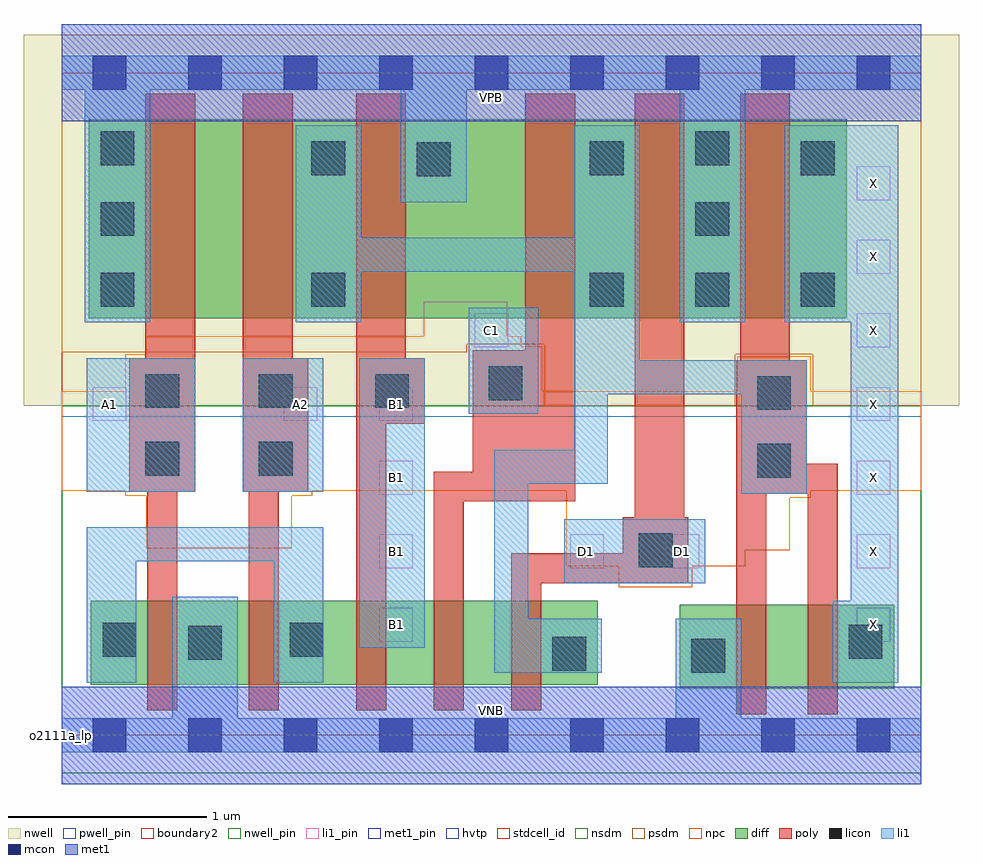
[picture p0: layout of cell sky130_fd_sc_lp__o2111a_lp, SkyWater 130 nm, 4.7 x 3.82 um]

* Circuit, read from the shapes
.subckt sky130_fd_sc_lp__o2111a_lp A1 A2 B1 C1 D1 VGND VNB VPB VPWR X
XM1 VGND A1 n1 VNB sky130_fd_pr__nfet_01v8 w=0.42 l=0.15
XM2 n1 A2 VGND VNB sky130_fd_pr__nfet_01v8 w=0.42 l=0.15
XM3 n2 B1 n1 VNB sky130_fd_pr__nfet_01v8 w=0.42 l=0.15
XM4 n3 C1 n2 VNB sky130_fd_pr__nfet_01v8 w=0.42 l=0.15
XM5 n4 D1 n3 VNB sky130_fd_pr__nfet_01v8 w=0.42 l=0.15
XM6 n5 n4 VGND VNB sky130_fd_pr__nfet_01v8 w=0.42 l=0.15
XM7 X n4 n5 VNB sky130_fd_pr__nfet_01v8 w=0.42 l=0.15
XM8 n6 A1 VPWR VPB sky130_fd_pr__pfet_01v8_hvt w=1 l=0.25
XM9 n4 A2 n6 VPB sky130_fd_pr__pfet_01v8_hvt w=1 l=0.25
XM10 VPWR B1 n4 VPB sky130_fd_pr__pfet_01v8_hvt w=1 l=0.25
XM11 n4 C1 VPWR VPB sky130_fd_pr__pfet_01v8_hvt w=1 l=0.25
XM12 VPWR D1 n4 VPB sky130_fd_pr__pfet_01v8_hvt w=1 l=0.25
XM13 X n4 VPWR VPB sky130_fd_pr__pfet_01v8_hvt w=1 l=0.25
.ends

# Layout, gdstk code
import gdstk
lib = gdstk.Library(unit=1e-6, precision=1e-09)
def R(c, l, rs):  # rectangles x0, y0, x1, y1
    for r in rs: c.add(gdstk.rectangle(r[:2], r[2:], *l))
def A(c, l, x, y, w, h, nx, ny, dx, dy):  # array of equal rectangles
    R(c, l, [(x+i*dx, y+j*dy, x+i*dx+w, y+j*dy+h) for i in range(nx) for j in range(ny)])
def P(c, l, *ps):  # polygons
    for p in ps: c.add(gdstk.Polygon(p, *l))
nwell_pin = (64, 16)
nwell = (64, 20)
diff = (65, 20)
poly = (66, 20)
licon = (66, 44)
li1_pin = (67, 16)
li1 = (67, 20)
mcon = (67, 44)
met1_pin = (68, 16)
met1 = (68, 20)
hvtp = (78, 44)
stdcell_id = (81, 4)
nsdm = (93, 44)
psdm = (94, 20)
npc = (95, 20)
pwell_pin = (122, 16)
boundary2 = (236, 0)

sky130_fd_sc_lp__o2111a_ = lib.new_cell('sky130_fd_sc_lp__o2111a_lp')
R(sky130_fd_sc_lp__o2111a_, nwell_pin, [(0,3.085,4.32,3.33)])
R(sky130_fd_sc_lp__o2111a_, nwell, [(-0.19,1.655,4.51,3.52)])
R(sky130_fd_sc_lp__o2111a_, diff, [(3.105,0.235,4.185,0.655), (0.145,0.255,2.695,0.675), (0.135,2.095,3.945,3.095)])
P(sky130_fd_sc_lp__o2111a_, poly, [(0.67,3.225),(0.42,3.225),(0.42,1.895),(0.34,1.895),(0.34,1.225),(0.43,1.225),(0.43,0.125),(0.58,0.125),(0.58,1.225),(0.67,1.225)],
  [(1.24,1.895),(1.16,1.895),(1.16,3.225),(0.91,3.225),(0.91,1.225),(0.94,1.225),(0.94,0.125),(1.09,0.125),(1.09,1.225),(1.24,1.225)],
  [(1.825,1.895),(1.73,1.895),(1.73,3.225),(1.48,3.225),(1.48,0.125),(1.63,0.125),(1.63,1.565),(1.825,1.565)],
  [(2.58,3.225),(2.33,3.225),(2.33,1.935),(2.065,1.935),(2.065,1.325),(1.87,1.325),(1.87,0.125),(2.02,0.125),(2.02,1.175),(2.58,1.175)],
  [(3.15,1.095),(3.13,1.095),(3.13,3.225),(2.88,3.225),(2.88,1.095),(2.82,1.095),(2.82,0.915),(2.26,0.915),(2.26,0.125),(2.41,0.125),(2.41,0.765),(3.15,0.765)],
  [(3.9,1.365),(3.745,1.365),(3.745,1.885),(3.66,1.885),(3.66,3.225),(3.41,3.225),(3.41,1.885),(3.39,1.885),(3.39,0.105),(3.54,0.105),(3.54,1.215),(3.75,1.215),(3.75,0.105),(3.9,0.105)])
A(sky130_fd_sc_lp__o2111a_, licon, 0.195, 2.155, 0.17, 0.17, 1, 3, 0, 0.355)
A(sky130_fd_sc_lp__o2111a_, licon, 2.655, 2.155, 0.17, 0.17, 3, 1, 0.53, 0)
R(sky130_fd_sc_lp__o2111a_, licon, [(3.165,0.315,3.335,0.485), (2.465,0.325,2.635,0.495), (0.635,0.38,0.805,0.55), (3.955,0.385,4.125,0.555), (0.205,0.395,0.375,0.565), (1.145,0.395,1.315,0.565), (2.9,0.845,3.07,1.015), (3.495,1.295,3.665,1.465), (0.42,1.305,0.59,1.475), (0.99,1.305,1.16,1.475), (3.495,1.635,3.665,1.805), (0.42,1.645,0.59,1.815), (0.99,1.645,1.16,1.815), (1.575,1.645,1.745,1.815), (2.145,1.685,2.315,1.855), (1.255,2.155,1.425,2.325), (3.185,2.51,3.355,2.68), (1.785,2.81,1.955,2.98), (1.255,2.815,1.425,2.985), (2.655,2.815,2.825,2.985), (3.715,2.815,3.885,2.985), (3.185,2.865,3.355,3.035)])
A(sky130_fd_sc_lp__o2111a_, li1_pin, 1.595, 0.47, 0.17, 0.17, 1, 4, 0, 0.37)
A(sky130_fd_sc_lp__o2111a_, li1_pin, 3.995, 0.47, 0.17, 0.17, 1, 7, 0, 0.37)
R(sky130_fd_sc_lp__o2111a_, li1_pin, [(2.555,0.84,2.725,1.01), (3.035,0.84,3.205,1.01), (0.155,1.58,0.325,1.75), (1.115,1.58,1.285,1.75), (2.075,1.95,2.245,2.12)])
R(sky130_fd_sc_lp__o2111a_, li1, [(1.495,0.44,1.825,1.895), (2.525,0.765,3.235,1.085), (0.125,1.225,0.67,1.895), (0.91,1.225,1.315,1.895), (2.045,1.615,2.395,2.15)])
P(sky130_fd_sc_lp__o2111a_, li1, [(0.115,2.075),(0.115,3.245),(0,3.245),(0,3.415),(4.32,3.415),(4.32,3.245),(3.435,3.245),(3.435,2.075),(3.105,2.075),(3.105,3.245),(2.035,3.245),(2.035,2.68),(1.705,2.68),(1.705,3.245),(0.445,3.245),(0.445,2.075)],
  [(3.085,0.085),(3.085,0.585),(3.415,0.585),(3.415,0.085),(4.32,0.085),(4.32,-0.085),(0,-0.085),(0,0.085),(0.555,0.085),(0.555,0.695),(0.885,0.695),(0.885,0.085)],
  [(0.125,1.045),(1.315,1.045),(1.315,0.265),(1.065,0.265),(1.065,0.875),(0.375,0.875),(0.375,0.265),(0.125,0.265)],
  [(2.575,3.065),(2.905,3.065),(2.905,1.885),(3.745,1.885),(3.745,1.215),(3.415,1.215),(3.415,1.715),(2.745,1.715),(2.745,1.265),(2.345,1.265),(2.345,0.585),(2.715,0.585),(2.715,0.315),(2.175,0.315),(2.175,1.435),(2.575,1.435),(2.575,2.33),(1.505,2.33),(1.505,2.075),(1.175,2.075),(1.175,3.065),(1.505,3.065),(1.505,2.5),(2.575,2.5)],
  [(3.635,2.075),(3.635,3.065),(4.205,3.065),(4.205,0.265),(3.875,0.265),(3.875,0.675),(3.965,0.675),(3.965,2.075)])
A(sky130_fd_sc_lp__o2111a_, mcon, 0.155, -0.085, 0.17, 0.17, 9, 2, 0.48, 3.33)
R(sky130_fd_sc_lp__o2111a_, met1_pin, [(0,0,4.32,0.245), (0,3.085,4.32,3.33)])
R(sky130_fd_sc_lp__o2111a_, met1, [(0,-0.245,4.32,0.245), (0,3.085,4.32,3.575)])
R(sky130_fd_sc_lp__o2111a_, hvtp, [(0,1.6,4.32,3.33)])
R(sky130_fd_sc_lp__o2111a_, stdcell_id, [(0,0,4.32,3.33)])
R(sky130_fd_sc_lp__o2111a_, nsdm, [(0,-0.19,4.32,1.655)])
P(sky130_fd_sc_lp__o2111a_, psdm, [(4.32,3.52),(0,3.52),(0,1.925),(2.035,1.925),(2.035,1.965),(2.425,1.965),(2.425,1.655),(3.385,1.655),(3.385,1.915),(3.775,1.915),(3.775,1.655),(4.32,1.655)])
P(sky130_fd_sc_lp__o2111a_, npc, [(4.32,1.73),(3.765,1.73),(3.765,1.905),(3.395,1.905),(3.395,1.73),(2.415,1.73),(2.415,1.955),(2.31,1.955),(2.31,2.005),(2.24,2.005),(2.24,2.18),(1.82,2.18),(1.82,2.005),(0.425,2.005),(0.425,1.915),(0.32,1.915),(0.32,1.73),(0,1.73),(0,1.23),(0.32,1.23),(0.32,1.205),(0.425,1.205),(0.425,0.94),(1.155,0.94),(1.155,1.205),(1.26,1.205),(1.26,1.23),(2.535,1.23),(2.535,0.85),(2.8,0.85),(2.8,0.745),(3.17,0.745),(3.17,0.85),(3.435,0.85),(3.435,0.93),(3.66,0.93),(3.66,1.195),(3.765,1.195),(3.765,1.23),(4.32,1.23)])
R(sky130_fd_sc_lp__o2111a_, pwell_pin, [(0,0,4.32,0.245)])
R(sky130_fd_sc_lp__o2111a_, boundary2, [(0,0,4.32,3.33)])
sky130_fd_sc_lp__o2111a_.add(gdstk.Label('VNB', (2.16,0.123), layer=64, texttype=59))
sky130_fd_sc_lp__o2111a_.add(gdstk.Label('VPB', (2.16,3.208), layer=64, texttype=5))
sky130_fd_sc_lp__o2111a_.add(gdstk.Label('o2111a_lp', (0,0), layer=83, texttype=44))
sky130_fd_sc_lp__o2111a_.add(gdstk.Label('VPWR', (2.16,3.208), layer=68, texttype=5))
sky130_fd_sc_lp__o2111a_.add(gdstk.Label('VGND', (2.16,0.123), layer=68, texttype=5))
sky130_fd_sc_lp__o2111a_.add(gdstk.Label('C1', (2.16,2.035), layer=67, texttype=5))
sky130_fd_sc_lp__o2111a_.add(gdstk.Label('A1', (0.24,1.665), layer=67, texttype=5))
sky130_fd_sc_lp__o2111a_.add(gdstk.Label('A2', (1.2,1.665), layer=67, texttype=5))
sky130_fd_sc_lp__o2111a_.add(gdstk.Label('D1', (2.64,0.925), layer=67, texttype=5))
sky130_fd_sc_lp__o2111a_.add(gdstk.Label('D1', (3.12,0.925), layer=67, texttype=5))
sky130_fd_sc_lp__o2111a_.add(gdstk.Label('X', (4.08,0.555), layer=67, texttype=5))
sky130_fd_sc_lp__o2111a_.add(gdstk.Label('X', (4.08,0.925), layer=67, texttype=5))
sky130_fd_sc_lp__o2111a_.add(gdstk.Label('X', (4.08,1.295), layer=67, texttype=5))
sky130_fd_sc_lp__o2111a_.add(gdstk.Label('X', (4.08,1.665), layer=67, texttype=5))
sky130_fd_sc_lp__o2111a_.add(gdstk.Label('X', (4.08,2.035), layer=67, texttype=5))
sky130_fd_sc_lp__o2111a_.add(gdstk.Label('X', (4.08,2.405), layer=67, texttype=5))
sky130_fd_sc_lp__o2111a_.add(gdstk.Label('X', (4.08,2.775), layer=67, texttype=5))
sky130_fd_sc_lp__o2111a_.add(gdstk.Label('B1', (1.68,0.555), layer=67, texttype=5))
sky130_fd_sc_lp__o2111a_.add(gdstk.Label('B1', (1.68,0.925), layer=67, texttype=5))
sky130_fd_sc_lp__o2111a_.add(gdstk.Label('B1', (1.68,1.295), layer=67, texttype=5))
sky130_fd_sc_lp__o2111a_.add(gdstk.Label('B1', (1.68,1.665), layer=67, texttype=5))

lib.write_gds('sky130_fd_sc_lp__o2111a_lp.gds')
